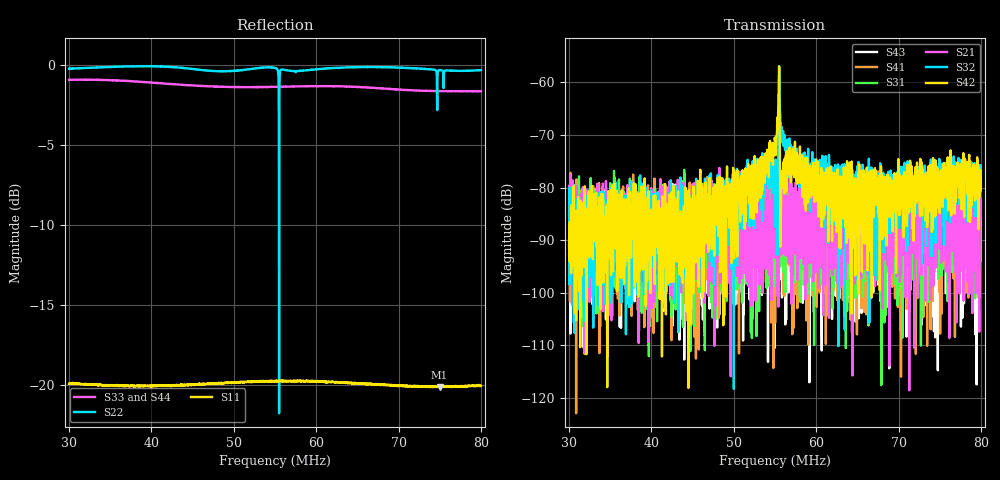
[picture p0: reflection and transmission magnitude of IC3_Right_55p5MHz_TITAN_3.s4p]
#  HZ  S  DB  R  50.00
! Rohde & Schwarz Vector Network Analyzer
! Rohde-Schwarz,ZNB8-4Port,1311601044102961,2.82
! Created: UTC 2/7/2019, 11:23:15 AM
! freq[Hz]  db:S11  ang:S11  db:S12  ang:S12  db:S13  ang:S13  db:S14  ang:S14
!  db:S21  ang:S21  db:S22  ang:S22  db:S23  ang:S23  db:S24  ang:S24
!  db:S31  ang:S31  db:S32  ang:S32  db:S33  ang:S33  db:S34  ang:S34
!  db:S41  ang:S41  db:S42  ang:S42  db:S43  ang:S43  db:S44  ang:S44
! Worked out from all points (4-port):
!   2001 points, 30 MHz to 80 MHz, reference 50 ohm
!   strongest paths, dB at 30 MHz, 42.5 MHz, 55 MHz, 67.5 MHz, 80 MHz:
!     S42: -92.8, -87.9, -71.0, -78.2, -76.9
!     S32: -84.8, -84.1, -79.7, -81.4, -79.0
!     S21: -91.6, -81.6, -87.3, -82.1, -84.4
!     S31: -90.5, -83.8, -88.3, -92.0, -82.2
!     S41: -90.0, -88.1, -105.5, -85.4, -91.3
!     S43: -91.0, -87.4, -88.0, -93.6, -85.7
!   lowest |S11| = -20.1 dB at 74.97 MHz (marker M1), VSWR 1.22, Z = 60.7 - j1.88 ohm
!   |S11| at or under -10 dB: start of sweep to end of sweep
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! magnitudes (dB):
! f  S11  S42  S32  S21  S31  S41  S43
! 30 MHz  -19.9  -92.8  -84.8  -91.6  -90.5  -90.0  -91.0
! 51.05 MHz  -19.8  -76.7  -80.1  -87.8  -80.7  -98.5  -88.7
! 55.12 MHz  -19.7  -71.8  -81.7  -85.7  -97.3  -84.3  -81.2
! 55.7 MHz  -19.8  -85.9  -67.8  -87.0  -81.1  -80.7  -97.4
! 60.67 MHz  -19.8  -87.5  -76.6  -95.2  -87.2  -83.6  -111.0
! 74.97 MHz  -20.1  -77.3  -76.5  -85.2  -85.3  -84.4  -89.1
! 80 MHz  -20.0  -76.9  -79.0  -84.4  -82.2  -91.3  -85.7
